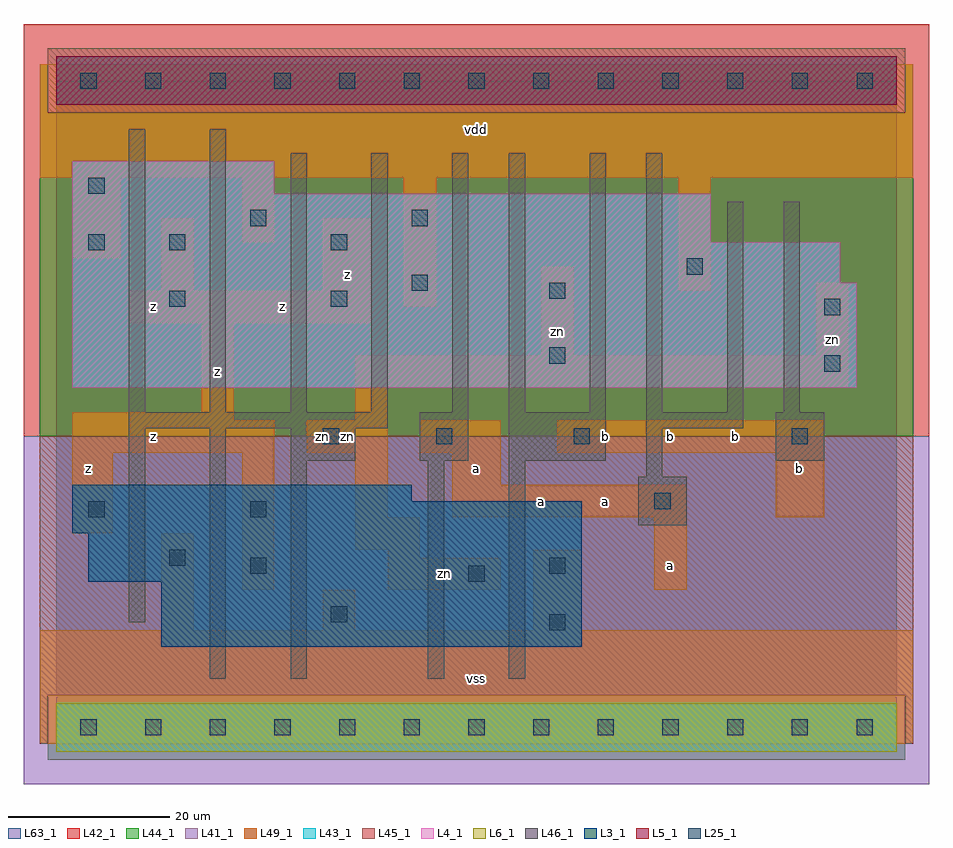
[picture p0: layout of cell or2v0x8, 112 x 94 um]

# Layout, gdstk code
import gdstk
lib = gdstk.Library(unit=1e-6, precision=1e-09)
def R(c, l, rs):  # rectangles x0, y0, x1, y1
    for r in rs: c.add(gdstk.rectangle(r[:2], r[2:], *l))
def A(c, l, x, y, w, h, nx, ny, dx, dy):  # array of equal rectangles
    R(c, l, [(x+i*dx, y+j*dy, x+i*dx+w, y+j*dy+h) for i in range(nx) for j in range(ny)])
L3_1 = (3, 1)
L4_1 = (4, 1)
L5_1 = (5, 1)
L6_1 = (6, 1)
L25_1 = (25, 1)
L41_1 = (41, 1)
L42_1 = (42, 1)
L43_1 = (43, 1)
L44_1 = (44, 1)
L45_1 = (45, 1)
L46_1 = (46, 1)
L49_1 = (49, 1)
L63_1 = (63, 1)

or2v0x8 = lib.new_cell('or2v0x8')
R(or2v0x8, L3_1, [(13,10,65,18), (4,18,65,24), (2,24,65,28), (2,28,44,30)])
R(or2v0x8, L4_1, [(2,42,99,55), (2,55,97,60), (2,60,81,66), (2,66,27,70)])
R(or2v0x8, L5_1, [(0,77,104,83)])
R(or2v0x8, L6_1, [(0,-3,104,3), (0,-3,104,3)])
A(or2v0x8, L25_1, 3, -1, 2, 2, 13, 2, 8, 80)
R(or2v0x8, L25_1, [(61,12,63,14), (34,13,36,15), (51,18,53,20), (24,19,26,21), (61,19,63,21), (14,20,16,22), (4,26,6,28), (24,26,26,28), (74,27,76,29), (33,35,35,37), (47,35,49,37), (64,35,66,37), (91,35,93,37), (95,44,97,46), (61,45,63,47), (95,51,97,53), (14,52,16,54), (34,52,36,54), (61,53,63,55), (44,54,46,56), (78,56,80,58), (4,59,6,61), (14,59,16,61), (34,59,36,61), (24,62,26,64), (44,62,46,64), (4,66,6,68)])
R(or2v0x8, L41_1, [(-4,-7,108,36)])
R(or2v0x8, L42_1, [(-4,36,108,87)])
R(or2v0x8, L43_1, [(0,-3,104,3), (13,10,65,18), (4,18,65,24), (2,24,65,28), (2,28,44,30), (2,42,99,55), (2,55,97,60), (2,60,81,66), (2,66,27,70), (0,77,104,83)])
R(or2v0x8, L44_1, [(-1,-4,105,4), (-2,36,106,76), (-2,76,-1,82), (105,76,106,82)])
R(or2v0x8, L45_1, [(-2,-2,-1,4), (105,-2,106,4), (-2,4,106,36), (-1,76,105,84)])
A(or2v0x8, L46_1, 29, 39, 2, 32, 3, 1, 10, 0)
R(or2v0x8, L46_1, [(19,6,21,37), (29,6,31,33), (46,6,48,33), (56,6,58,33), (9,13,11,37), (72,25,78,31), (73,31,75,37), (29,33,37,37), (45,33,51,39), (56,33,68,39), (89,33,95,39), (9,37,41,39), (73,37,85,39), (9,39,11,74), (19,39,21,74), (56,39,58,71), (66,39,68,71), (73,39,75,71), (83,39,85,65), (90,39,92,65)])
R(or2v0x8, L49_1, [(-2,-2,106,12), (13,12,17,24), (33,12,37,17), (59,12,65,22), (23,17,27,34), (41,17,55,21), (74,17,78,26), (41,21,45,22), (37,22,45,26), (2,24,7,34), (37,26,41,34), (49,26,78,30), (89,26,95,34), (49,30,55,34), (2,34,27,38), (31,34,41,38), (45,34,55,38), (62,34,95,38), (2,38,22,39), (37,38,41,42), (18,39,22,50), (37,42,98,46), (60,46,64,57), (94,46,98,55), (9,50,39,54), (43,52,47,68), (13,54,17,63), (33,54,39,63), (77,54,81,68), (2,58,8,68), (23,60,27,68), (-2,68,106,82)])
R(or2v0x8, L63_1, [(0,0,104,80)])
or2v0x8.add(gdstk.Label('zn', (33,36), layer=49, texttype=1))
or2v0x8.add(gdstk.Label('z', (4,32), layer=49, texttype=1))
or2v0x8.add(gdstk.Label('z', (12,36), layer=49, texttype=1))
or2v0x8.add(gdstk.Label('z', (12,52), layer=49, texttype=1))
or2v0x8.add(gdstk.Label('z', (20,44), layer=49, texttype=1))
or2v0x8.add(gdstk.Label('z', (28,52), layer=49, texttype=1))
or2v0x8.add(gdstk.Label('z', (36,56), layer=49, texttype=1))
or2v0x8.add(gdstk.Label('vss', (52,6), layer=49, texttype=1))
or2v0x8.add(gdstk.Label('zn', (48,19), layer=49, texttype=1))
or2v0x8.add(gdstk.Label('a', (60,28), layer=49, texttype=1))
or2v0x8.add(gdstk.Label('a', (52,32), layer=49, texttype=1))
or2v0x8.add(gdstk.Label('zn', (36,36), layer=49, texttype=1))
or2v0x8.add(gdstk.Label('vdd', (52,74), layer=49, texttype=1))
or2v0x8.add(gdstk.Label('a', (68,28), layer=49, texttype=1))
or2v0x8.add(gdstk.Label('a', (76,20), layer=49, texttype=1))
or2v0x8.add(gdstk.Label('b', (68,36), layer=49, texttype=1))
or2v0x8.add(gdstk.Label('b', (76,36), layer=49, texttype=1))
or2v0x8.add(gdstk.Label('zn', (62,49), layer=49, texttype=1))
or2v0x8.add(gdstk.Label('b', (92,32), layer=49, texttype=1))
or2v0x8.add(gdstk.Label('b', (84,36), layer=49, texttype=1))
or2v0x8.add(gdstk.Label('zn', (96,48), layer=49, texttype=1))

lib.write_gds('or2v0x8.gds')
